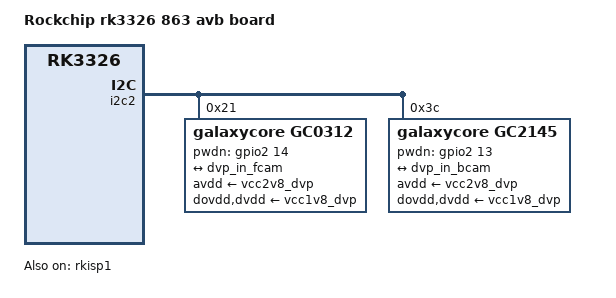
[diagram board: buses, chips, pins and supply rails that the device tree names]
// SPDX-License-Identifier: (GPL-2.0+ OR MIT)
/*
 * Copyright (c) 2017 Fuzhou Rockchip Electronics Co., Ltd
 */

/dts-v1/;
#include "rk3326-863-lp3-v10.dtsi"

/ {
	model = "Rockchip rk3326 863 avb board";
	compatible = "rockchip,rk3326-863-lp3-v10-avb", "rockchip,rk3326";
};

&firmware_android {
	compatible = "android,firmware";
	vbmeta {
		compatible = "android,vbmeta";
		parts = "vbmeta,boot,system,vendor,dtbo";
	};
	fstab {
		compatible = "android,fstab";
		vendor {
			compatible = "android,vendor";
			dev = "/dev/block/platform/ff390000.dwmmc/by-name/vendor";
			type = "ext4";
			mnt_flags = "ro,barrier=1,inode_readahead_blks=8";
			fsmgr_flags = "wait,avb";
		};
	};
};

&i2c2 {
	status = "okay";

	gc0312@21 {
		status = "okay";
		compatible = "galaxycore,gc0312";
		reg = <0x21>;
		pinctrl-names = "default";
		pinctrl-0 = <&cif_clkout_m0>;

		clocks = <&cru SCLK_CIF_OUT>;
		clock-names = "xvclk";

		avdd-supply = <&vcc2v8_dvp>;
		dovdd-supply = <&vcc1v8_dvp>;
		dvdd-supply = <&vcc1v8_dvp>;

		pwdn-gpios = <&gpio2 14 GPIO_ACTIVE_HIGH>;

		port {
			gc0312_out: endpoint {
				remote-endpoint = <&dvp_in_fcam>;
			};
		};
	};

	gc2145@3c {
		status = "okay";
		compatible = "galaxycore,gc2145";
		reg = <0x3c>;
		pinctrl-names = "default";
		pinctrl-0 = <&cif_clkout_m0>;

		clocks = <&cru SCLK_CIF_OUT>;
		clock-names = "xvclk";

		avdd-supply = <&vcc2v8_dvp>;
		dovdd-supply = <&vcc1v8_dvp>;
		dvdd-supply = <&vcc1v8_dvp>;

		pwdn-gpios = <&gpio2 13 GPIO_ACTIVE_HIGH>;

		port {
			gc2145_out: endpoint {
				remote-endpoint = <&dvp_in_bcam>;
			};
		};
	};
};

&isp_mmu {
	status = "okay";
};

&rkisp1 {
	status = "okay";
	pinctrl-names = "default";
	pinctrl-0 = <&cif_clkout_m0 &dvp_d0d1_m0 &dvp_d2d9_m0 &dvp_d10d11_m0>;

	ports {
		#address-cells = <1>;
		#size-cells = <0>;

		port@0 {
			reg = <0>;
			#address-cells = <1>;
			#size-cells = <0>;

			dvp_in_fcam: endpoint@0 {
				reg = <0>;
				remote-endpoint = <&gc0312_out>;
			};

			dvp_in_bcam: endpoint@1 {
				reg = <1>;
				remote-endpoint = <&gc2145_out>;
			};
		};
	};
};
